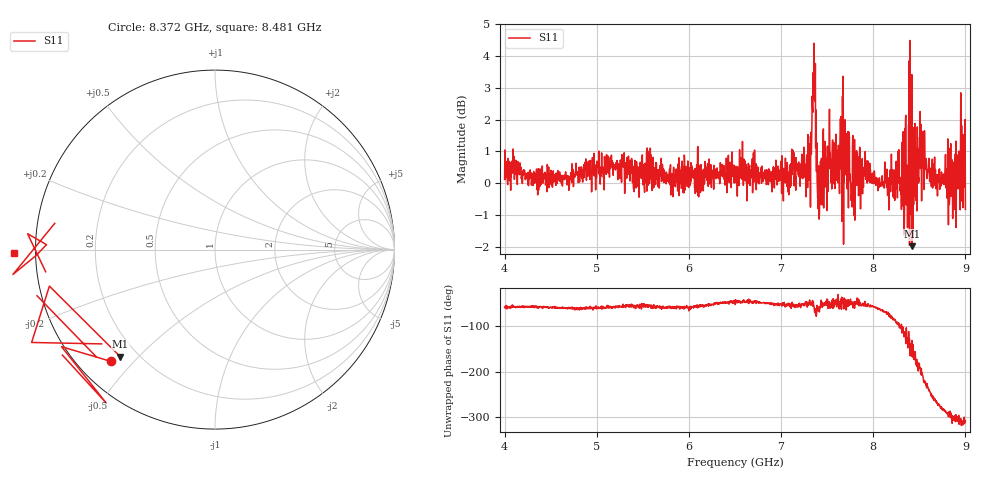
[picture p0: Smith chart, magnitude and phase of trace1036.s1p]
! Created with skrf 1.8.0 (http://scikit-rf.org).
# Hz S RI R 50.0
!freq ReS11 ImS11
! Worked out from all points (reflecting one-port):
!   1601 points, 4 GHz to 9 GHz, reference 50 ohm
!   lowest |S11| = -2.0 dB at 8.422 GHz (marker M1), VSWR 8.83, Z = 6.8 - j22.2 ohm
!   phase of S11 starts at -58 deg and turns -251 deg over the sweep
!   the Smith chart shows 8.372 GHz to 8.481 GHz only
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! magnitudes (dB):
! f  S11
! 4 GHz  0.1
! 4.1 GHz  0.4
! 4.625 GHz  -0.1
! 5.25 GHz  0.3
! 5.875 GHz  0.1
! 6.5 GHz  0.3
! 7.038 GHz  0.1
! 7.125 GHz  0.5
! 7.294 GHz  0.5
! 7.353 GHz  2.7
! 7.369 GHz  2.6
! 7.4 GHz  -0.3
! 7.422 GHz  -0.1
! 7.478 GHz  1.3
! 7.609 GHz  0.4
! 7.669 GHz  1.6
! 7.75 GHz  0.1
! 8.316 GHz  0.9
! 8.331 GHz  0.6
! 8.356 GHz  1.0
! 8.375 GHz  0.1
! 8.422 GHz  -2.0
! 8.447 GHz  1.5
! 8.522 GHz  0.7
! 8.606 GHz  0.6
! 8.841 GHz  1.2
! 8.972 GHz  0.3
! 9 GHz  -0.8
